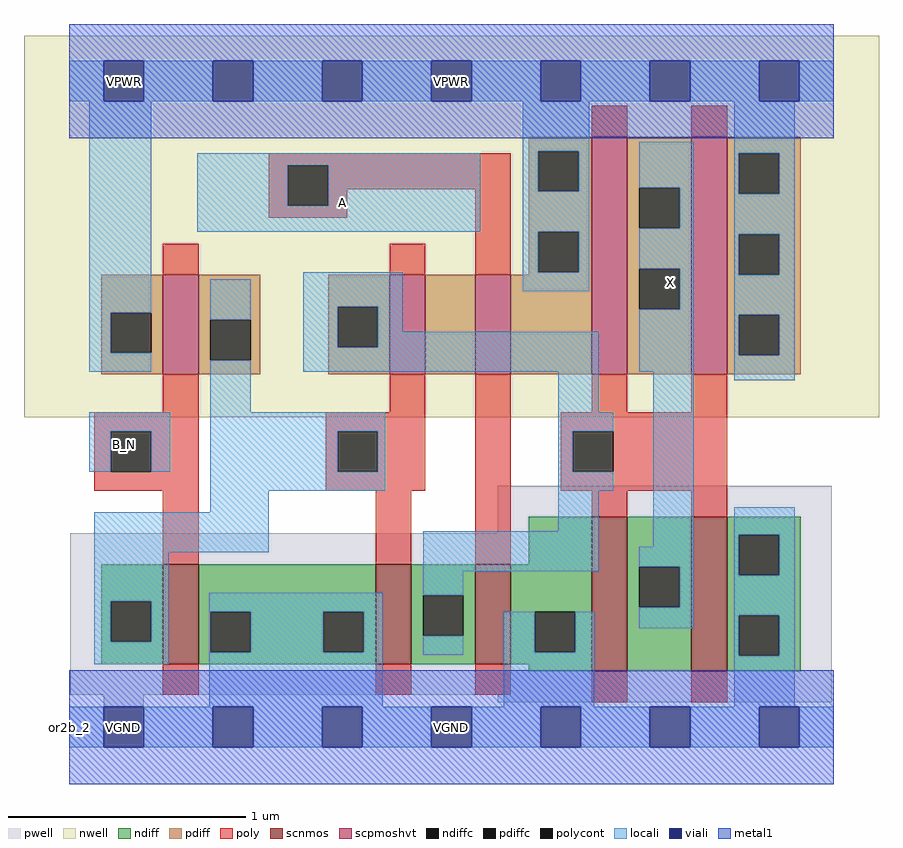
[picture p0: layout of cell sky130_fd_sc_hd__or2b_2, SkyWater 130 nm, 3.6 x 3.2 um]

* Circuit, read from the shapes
.subckt sky130_fd_sc_hd__or2b_2 A B_N VGND VNB VPB VPWR X
XM1 VGND B_N n1 VNB sky130_fd_pr__nfet_01v8 w=0.42 l=0.15
XM2 n2 n1 VGND VNB sky130_fd_pr__nfet_01v8 w=0.42 l=0.15
XM3 VGND A n2 VNB sky130_fd_pr__nfet_01v8 w=0.42 l=0.15
XM4 X n2 VGND VNB sky130_fd_pr__nfet_01v8 w=0.65 l=0.15 m=2
XM5 n1 B_N VPWR VPB sky130_fd_pr__pfet_01v8_hvt w=0.42 l=0.15
XM6 n3 n1 n2 VPB sky130_fd_pr__pfet_01v8_hvt w=0.42 l=0.15
XM7 VPWR A n3 VPB sky130_fd_pr__pfet_01v8_hvt w=0.42 l=0.15
XM8 X n2 VPWR VPB sky130_fd_pr__pfet_01v8_hvt w=1 l=0.15 m=2
.ends

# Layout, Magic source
magic
tech sky130A
magscale 1 2
<< nwell >>
rect -38 261 682 582
<< pwell >>
rect 361 163 642 203
rect 1 27 642 163
rect 29 -17 63 27
rect 361 21 642 27
<< scnmos >>
rect 79 53 109 137
rect 258 53 288 137
rect 342 53 372 137
rect 440 47 470 177
rect 524 47 554 177
<< scpmoshvt >>
rect 79 297 109 381
rect 270 297 300 381
rect 342 297 372 381
rect 440 297 470 497
rect 524 297 554 497
<< ndiff >>
rect 387 137 440 177
rect 27 106 79 137
rect 27 72 35 106
rect 69 72 79 106
rect 27 53 79 72
rect 109 97 258 137
rect 109 63 119 97
rect 153 63 214 97
rect 248 63 258 97
rect 109 53 258 63
rect 288 111 342 137
rect 288 77 298 111
rect 332 77 342 111
rect 288 53 342 77
rect 372 97 440 137
rect 372 63 392 97
rect 426 63 440 97
rect 372 53 440 63
rect 387 47 440 53
rect 470 135 524 177
rect 470 101 480 135
rect 514 101 524 135
rect 470 47 524 101
rect 554 162 616 177
rect 554 128 564 162
rect 598 128 616 162
rect 554 94 616 128
rect 554 60 564 94
rect 598 60 616 94
rect 554 47 616 60
<< pdiff >>
rect 387 485 440 497
rect 387 451 395 485
rect 429 451 440 485
rect 387 417 440 451
rect 387 383 395 417
rect 429 383 440 417
rect 387 381 440 383
rect 27 349 79 381
rect 27 315 35 349
rect 69 315 79 349
rect 27 297 79 315
rect 109 343 161 381
rect 109 309 119 343
rect 153 309 161 343
rect 109 297 161 309
rect 218 354 270 381
rect 218 320 226 354
rect 260 320 270 354
rect 218 297 270 320
rect 300 297 342 381
rect 372 297 440 381
rect 470 454 524 497
rect 470 420 480 454
rect 514 420 524 454
rect 470 386 524 420
rect 470 352 480 386
rect 514 352 524 386
rect 470 297 524 352
rect 554 483 616 497
rect 554 449 564 483
rect 598 449 616 483
rect 554 415 616 449
rect 554 381 564 415
rect 598 381 616 415
rect 554 347 616 381
rect 554 313 564 347
rect 598 313 616 347
rect 554 297 616 313
<< ndiffc >>
rect 35 72 69 106
rect 119 63 153 97
rect 214 63 248 97
rect 298 77 332 111
rect 392 63 426 97
rect 480 101 514 135
rect 564 128 598 162
rect 564 60 598 94
<< pdiffc >>
rect 395 451 429 485
rect 395 383 429 417
rect 35 315 69 349
rect 119 309 153 343
rect 226 320 260 354
rect 480 420 514 454
rect 480 352 514 386
rect 564 449 598 483
rect 564 381 598 415
rect 564 313 598 347
<< poly >>
rect 440 497 470 523
rect 524 497 554 523
rect 168 473 372 483
rect 168 439 184 473
rect 218 453 372 473
rect 218 439 234 453
rect 168 429 234 439
rect 79 381 109 407
rect 270 381 300 407
rect 342 381 372 453
rect 79 265 109 297
rect 270 265 300 297
rect 21 249 109 265
rect 21 215 35 249
rect 69 215 109 249
rect 21 199 109 215
rect 216 249 300 265
rect 216 215 226 249
rect 260 215 300 249
rect 216 199 300 215
rect 79 137 109 199
rect 258 137 288 199
rect 342 137 372 297
rect 440 265 470 297
rect 524 265 554 297
rect 414 249 554 265
rect 414 215 424 249
rect 458 215 554 249
rect 414 199 554 215
rect 440 177 470 199
rect 524 177 554 199
rect 79 27 109 53
rect 258 27 288 53
rect 342 27 372 53
rect 440 21 470 47
rect 524 21 554 47
<< polycont >>
rect 184 439 218 473
rect 35 215 69 249
rect 226 215 260 249
rect 424 215 458 249
<< locali >>
rect 0 527 29 561
rect 63 527 121 561
rect 155 527 213 561
rect 247 527 305 561
rect 339 527 397 561
rect 431 527 489 561
rect 523 527 581 561
rect 615 527 644 561
rect 17 349 69 527
rect 382 485 438 527
rect 108 473 346 483
rect 108 439 184 473
rect 218 439 346 473
rect 108 417 346 439
rect 382 451 395 485
rect 429 451 438 485
rect 382 417 438 451
rect 382 383 395 417
rect 429 383 438 417
rect 17 315 35 349
rect 17 299 69 315
rect 119 343 153 377
rect 119 265 153 309
rect 197 354 281 383
rect 382 367 438 383
rect 480 454 526 493
rect 514 420 526 454
rect 480 386 526 420
rect 197 320 226 354
rect 260 333 281 354
rect 514 352 526 386
rect 260 320 446 333
rect 197 299 446 320
rect 480 299 526 352
rect 412 265 446 299
rect 17 249 85 265
rect 17 215 35 249
rect 69 215 85 249
rect 119 249 266 265
rect 119 215 226 249
rect 260 215 266 249
rect 119 199 266 215
rect 412 249 458 265
rect 412 215 424 249
rect 412 199 458 215
rect 119 181 168 199
rect 21 147 168 181
rect 412 165 446 199
rect 21 106 84 147
rect 298 131 446 165
rect 492 152 526 299
rect 560 483 611 527
rect 560 449 564 483
rect 598 449 611 483
rect 560 415 611 449
rect 560 381 564 415
rect 598 381 611 415
rect 560 347 611 381
rect 560 313 564 347
rect 598 313 611 347
rect 560 292 611 313
rect 480 135 526 152
rect 21 72 35 106
rect 69 72 84 106
rect 21 53 84 72
rect 118 97 264 113
rect 118 63 119 97
rect 153 63 214 97
rect 248 63 264 97
rect 118 17 264 63
rect 298 111 332 131
rect 514 101 526 135
rect 298 61 332 77
rect 366 63 392 97
rect 426 63 442 97
rect 480 83 526 101
rect 560 162 611 185
rect 560 128 564 162
rect 598 128 611 162
rect 560 94 611 128
rect 366 17 442 63
rect 560 60 564 94
rect 598 60 611 94
rect 560 17 611 60
rect 0 -17 29 17
rect 63 -17 121 17
rect 155 -17 213 17
rect 247 -17 305 17
rect 339 -17 397 17
rect 431 -17 489 17
rect 523 -17 581 17
rect 615 -17 644 17
<< viali >>
rect 29 527 63 561
rect 121 527 155 561
rect 213 527 247 561
rect 305 527 339 561
rect 397 527 431 561
rect 489 527 523 561
rect 581 527 615 561
rect 29 -17 63 17
rect 121 -17 155 17
rect 213 -17 247 17
rect 305 -17 339 17
rect 397 -17 431 17
rect 489 -17 523 17
rect 581 -17 615 17
<< metal1 >>
rect 0 561 644 592
rect 0 527 29 561
rect 63 527 121 561
rect 155 527 213 561
rect 247 527 305 561
rect 339 527 397 561
rect 431 527 489 561
rect 523 527 581 561
rect 615 527 644 561
rect 0 496 644 527
rect 0 17 644 48
rect 0 -17 29 17
rect 63 -17 121 17
rect 155 -17 213 17
rect 247 -17 305 17
rect 339 -17 397 17
rect 431 -17 489 17
rect 523 -17 581 17
rect 615 -17 644 17
rect 0 -48 644 -17
<< labels >>
flabel locali s 213 425 247 459 0 FreeSans 400 0 0 0 A
port 1 nsew signal input
flabel locali s 30 221 64 255 0 FreeSans 400 0 0 0 B_N
port 2 nsew signal input
flabel locali s 489 357 523 391 0 FreeSans 400 0 0 0 X
port 7 nsew signal output
flabel metal1 s 30 527 64 561 0 FreeSans 200 0 0 0 VPWR
port 6 nsew power bidirectional abutment
flabel metal1 s 29 -17 63 17 0 FreeSans 200 0 0 0 VGND
port 3 nsew ground bidirectional abutment
flabel pwell s 29 -17 63 17 0 FreeSans 200 0 0 0 VNB
port 4 nsew ground bidirectional
flabel nwell s 30 527 64 561 0 FreeSans 200 0 0 0 VPB
port 5 nsew power bidirectional
rlabel comment s 0 0 0 0 4 or2b_2
rlabel metal1 s 0 -48 644 48 1 VGND
port 3 nsew ground bidirectional abutment
rlabel metal1 s 0 496 644 592 1 VPWR
port 6 nsew power bidirectional abutment
<< properties >>
string FIXED_BBOX 0 0 644 544
string GDS_END 1004888
string GDS_FILE $PDKPATH/libs.ref/sky130_fd_sc_hd/gds/sky130_fd_sc_hd.gds
string GDS_START 999424
string LEFclass CORE
string LEFsite unithd
string LEFsymmetry X Y R90
string path 0.000 0.000 3.220 0.000 
<< end >>
